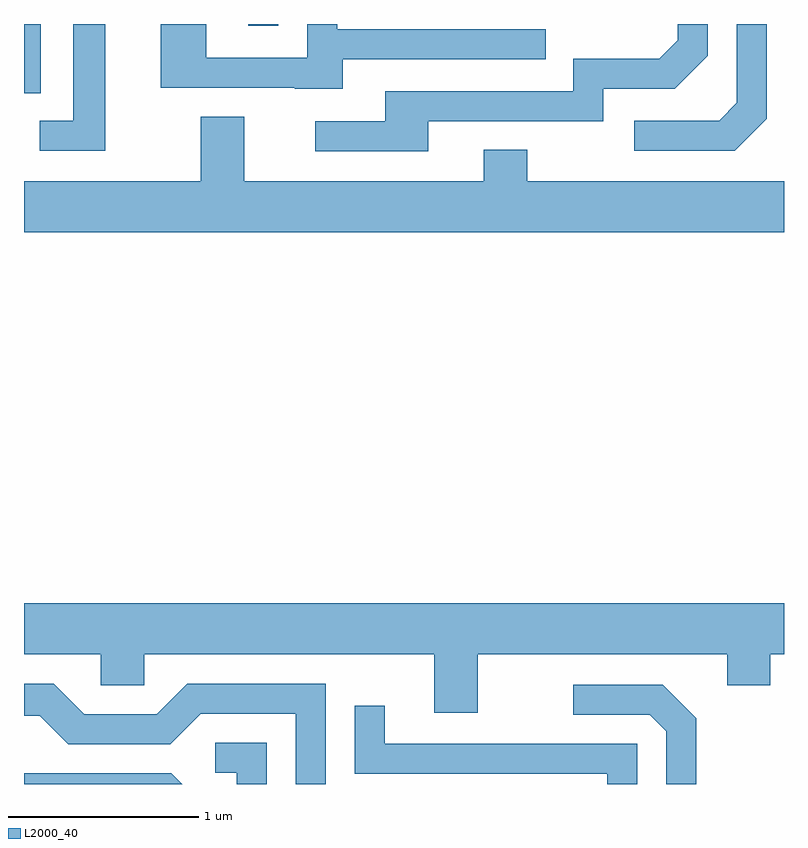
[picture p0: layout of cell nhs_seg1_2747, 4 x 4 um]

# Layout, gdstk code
import gdstk
lib = gdstk.Library(unit=1e-6, precision=1e-09)
def R(c, l, rs):  # rectangles x0, y0, x1, y1
    for r in rs: c.add(gdstk.rectangle(r[:2], r[2:], *l))
def P(c, l, *ps):  # polygons
    for p in ps: c.add(gdstk.Polygon(p, *l))
L2000_40 = (2000, 40)

nhs_seg1_2747 = lib.new_cell('nhs_seg1_2747')
R(nhs_seg1_2747, L2000_40, [(267.611,971.348,267.699,971.712), (268.791,971.703,268.949,971.712)])
P(nhs_seg1_2747, L2000_40, [(271.519,971.214),(271.519,971.712),(271.361,971.712),(271.361,971.297),(271.269,971.204),(270.823,971.204),(270.823,971.046),(271.352,971.046)],
  [(269.289,971.526),(270.358,971.526),(270.358,971.684),(269.259,971.684),(269.259,971.712),(269.101,971.712),(269.101,971.534),(268.569,971.534),(268.569,971.712),(268.331,971.712),(268.331,971.376),(269.035,971.376),(269.035,971.371),(269.289,971.371)],
  [(268.039,971.712),(267.871,971.712),(267.871,971.204),(267.693,971.204),(267.693,971.046),(268.039,971.046)],
  [(269.739,971.201),(270.659,971.201),(270.659,971.371),(271.037,971.371),(271.209,971.544),(271.209,971.712),(271.051,971.712),(271.051,971.627),(270.954,971.529),(270.501,971.529),(270.501,971.359),(269.511,971.359),(269.511,971.199),(269.143,971.199),(269.143,971.041),(269.739,971.041)],
  [(271.611,970.884),(270.259,970.884),(270.259,971.049),(270.031,971.049),(270.031,970.884),(268.769,970.884),(268.769,971.224),(268.541,971.224),(268.541,970.884),(267.611,970.884),(267.611,970.616),(271.611,970.616)],
  [(269.999,968.396),(271.311,968.396),(271.311,968.231),(271.539,968.231),(271.539,968.396),(271.611,968.396),(271.611,968.664),(267.611,968.664),(267.611,968.396),(268.016,968.396),(268.016,968.231),(268.244,968.231),(268.244,968.396),(269.771,968.396),(269.771,968.086),(269.999,968.086)],
  [(269.199,968.239),(268.469,968.239),(268.309,968.079),(267.927,968.079),(267.767,968.239),(267.611,968.239),(267.611,968.071),(267.694,968.071),(267.844,967.921),(268.382,967.921),(268.542,968.081),(269.041,968.081),(269.041,967.712),(269.199,967.712)],
  [(271.149,968.057),(270.972,968.234),(270.503,968.234),(270.503,968.076),(270.904,968.076),(270.991,967.989),(270.991,967.712),(271.149,967.712)],
  [(270.839,967.924),(269.509,967.924),(269.509,968.123),(269.351,968.123),(269.351,967.766),(270.681,967.766),(270.681,967.712),(270.839,967.712)],
  [(268.889,967.929),(268.618,967.929),(268.618,967.771),(268.731,967.771),(268.731,967.712),(268.889,967.712)],
  [(268.387,967.769),(267.611,967.769),(267.611,967.712),(268.444,967.712)])

lib.write_gds('nhs_seg1_2747.gds')
